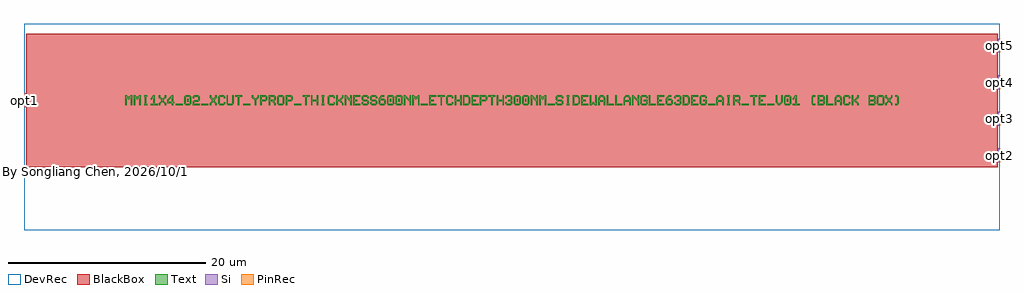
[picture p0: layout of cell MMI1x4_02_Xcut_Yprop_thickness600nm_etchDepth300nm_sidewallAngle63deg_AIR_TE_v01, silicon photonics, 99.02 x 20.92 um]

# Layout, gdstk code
import gdstk
lib = gdstk.Library(unit=1e-6, precision=1e-10)
def R(c, l, rs):  # rectangles x0, y0, x1, y1
    for r in rs: c.add(gdstk.rectangle(r[:2], r[2:], *l))
def A(c, l, x, y, w, h, nx, ny, dx, dy):  # array of equal rectangles
    R(c, l, [(x+i*dx, y+j*dy, x+i*dx+w, y+j*dy+h) for i in range(nx) for j in range(ny)])
def P(c, l, *ps):  # polygons
    for p in ps: c.add(gdstk.Polygon(p, *l))
Si = (1, 0)
PinRec = (1, 10)
Text = (10, 0)
DevRec = (68, 0)
BlackBox = (998, 0)

text = lib.new_cell('TEXT')
A(text, Text, 17.14, 0, 0.714, 0.143, 3, 1, 12.855, 0)
R(text, Text, [(5.142,0,5.856,0.143), (7.713,0,8.427,0.143), (11.998,0,12.712,0.143), (59.133,0,59.847,0.143), (62.561,0,63.275,0.143), (65.132,0,65.846,0.143), (6.285,0.357,6.428,0.643), (26.853,0.357,26.996,0.643), (27.71,0.357,27.853,0.643), (39.708,0.357,39.851,0.643), (40.565,0.357,40.708,0.643), (67.132,0.357,67.275,0.643)])
P(text, Text, [(0,0),(0,1),(0.143,1),(0.286,0.857),(0.429,0.857),(0.572,1),(0.714,1),(0.714,0),(0.572,0),(0.572,0.714),(0.5,0.714),(0.357,0.572),(0.214,0.714),(0.143,0.714),(0.143,0)],
  [(0.857,0),(0.857,1),(1,1),(1.143,0.857),(1.286,0.857),(1.429,1),(1.571,1),(1.571,0),(1.429,0),(1.429,0.714),(1.357,0.714),(1.214,0.572),(1.071,0.714),(1,0.714),(1,0)],
  [(1.928,0),(1.928,0.143),(2,0.143),(2,0.857),(1.928,0.857),(1.928,1),(2.214,1),(2.214,0.857),(2.143,0.857),(2.143,0.143),(2.214,0.143),(2.214,0)],
  [(2.571,0),(2.571,0.143),(2.857,0.143),(2.857,0.714),(2.785,0.714),(2.642,0.572),(2.571,0.572),(2.571,0.714),(2.857,1),(3,1),(3,0.143),(3.285,0.143),(3.285,0)],
  [(3.428,0),(3.428,0.214),(3.642,0.429),(3.642,0.572),(3.428,0.786),(3.428,1),(3.571,1),(3.571,0.857),(3.785,0.643),(4,0.857),(4,1),(4.142,1),(4.142,0.786),(3.928,0.572),(3.928,0.429),(4.142,0.214),(4.142,0),(4,0),(4,0.143),(3.785,0.357),(3.571,0.143),(3.571,0)],
  [(4.714,0),(4.714,0.214),(4.285,0.214),(4.285,0.357),(4.714,0.357),(4.714,0.714),(4.642,0.714),(4.428,0.5),(4.428,0.357),(4.285,0.357),(4.285,0.572),(4.714,1),(4.857,1),(4.857,0.357),(4.999,0.357),(4.999,0.214),(4.857,0.214),(4.857,0)],
  [(6.142,0),(5.999,0.143),(5.999,0.857),(6.142,1),(6.571,1),(6.713,0.857),(6.213,0.857),(6.142,0.786),(6.142,0.214),(6.213,0.143),(6.499,0.143),(6.571,0.214),(6.571,0.786),(6.499,0.857),(6.713,0.857),(6.713,0.143),(6.571,0)],
  [(6.856,0),(6.856,0.357),(6.999,0.5),(7.356,0.5),(7.428,0.572),(7.428,0.786),(7.356,0.857),(7.07,0.857),(6.999,0.786),(6.999,0.714),(6.856,0.714),(6.856,0.857),(6.999,1),(7.428,1),(7.57,0.857),(7.57,0.5),(7.428,0.357),(7.07,0.357),(6.999,0.286),(6.999,0.143),(7.57,0.143),(7.57,0)],
  [(8.57,0),(8.57,0.214),(8.784,0.429),(8.784,0.572),(8.57,0.786),(8.57,1),(8.713,1),(8.713,0.857),(8.927,0.643),(9.142,0.857),(9.142,1),(9.284,1),(9.284,0.786),(9.07,0.572),(9.07,0.429),(9.284,0.214),(9.284,0),(9.142,0),(9.142,0.143),(8.927,0.357),(8.713,0.143),(8.713,0)],
  [(9.57,0),(9.427,0.143),(9.427,0.857),(9.57,1),(9.999,1),(10.141,0.857),(10.141,0.714),(9.999,0.714),(9.999,0.786),(9.927,0.857),(9.641,0.857),(9.57,0.786),(9.57,0.214),(9.641,0.143),(9.927,0.143),(9.999,0.214),(9.999,0.286),(10.141,0.286),(10.141,0.143),(9.999,0)],
  [(10.427,0),(10.284,0.143),(10.284,1),(10.427,1),(10.427,0.214),(10.498,0.143),(10.784,0.143),(10.856,0.214),(10.856,1),(10.998,1),(10.998,0.143),(10.856,0)],
  [(11.427,0),(11.427,0.857),(11.141,0.857),(11.141,1),(11.855,1),(11.855,0.857),(11.57,0.857),(11.57,0)],
  [(13.141,0),(13.141,0.5),(12.855,0.786),(12.855,1),(12.998,1),(12.998,0.857),(13.212,0.643),(13.427,0.857),(13.427,1),(13.569,1),(13.569,0.786),(13.284,0.5),(13.284,0)],
  [(13.712,0),(13.712,1),(14.284,1),(14.426,0.857),(14.426,0.572),(14.284,0.429),(13.855,0.429),(13.855,0.572),(14.212,0.572),(14.284,0.643),(14.284,0.786),(14.212,0.857),(13.855,0.857),(13.855,0)],
  [(14.569,0),(14.569,1),(15.141,1),(15.283,0.857),(14.712,0.857),(14.712,0.572),(15.069,0.572),(15.141,0.643),(15.141,0.786),(15.069,0.857),(15.283,0.857),(15.283,0.572),(15.141,0.429),(15.141,0.357),(15.283,0.214),(15.283,0),(15.141,0),(15.141,0.143),(14.855,0.429),(14.712,0.429),(14.712,0)],
  [(15.569,0),(15.426,0.143),(15.426,0.857),(15.569,1),(15.998,1),(16.14,0.857),(16.14,0.5),(15.998,0.5),(15.998,0.786),(15.926,0.857),(15.64,0.857),(15.569,0.786),(15.569,0.214),(15.64,0.143),(15.926,0.143),(15.998,0.214),(15.998,0.5),(16.14,0.5),(16.14,0.143),(15.998,0)],
  [(16.283,0),(16.283,1),(16.855,1),(16.997,0.857),(16.997,0.572),(16.855,0.429),(16.426,0.429),(16.426,0.572),(16.783,0.572),(16.855,0.643),(16.855,0.786),(16.783,0.857),(16.426,0.857),(16.426,0)],
  [(18.283,0),(18.283,0.857),(17.997,0.857),(17.997,1),(18.711,1),(18.711,0.857),(18.426,0.857),(18.426,0)],
  [(18.854,0),(18.854,1),(18.997,1),(18.997,0.572),(19.426,0.572),(19.426,1),(19.568,1),(19.568,0),(19.426,0),(19.426,0.429),(18.997,0.429),(18.997,0)],
  [(19.925,0),(19.925,0.143),(19.997,0.143),(19.997,0.857),(19.925,0.857),(19.925,1),(20.211,1),(20.211,0.857),(20.14,0.857),(20.14,0.143),(20.211,0.143),(20.211,0)],
  [(20.711,0),(20.568,0.143),(20.568,0.857),(20.711,1),(21.14,1),(21.282,0.857),(21.282,0.714),(21.14,0.714),(21.14,0.786),(21.068,0.857),(20.782,0.857),(20.711,0.786),(20.711,0.214),(20.782,0.143),(21.068,0.143),(21.14,0.214),(21.14,0.286),(21.282,0.286),(21.282,0.143),(21.14,0)],
  [(21.425,0),(21.425,1),(21.568,1),(21.568,0.572),(21.711,0.572),(21.997,0.857),(21.997,1),(22.139,1),(22.139,0.786),(21.854,0.5),(22.139,0.214),(22.139,0),(21.997,0),(21.997,0.143),(21.711,0.429),(21.568,0.429),(21.568,0)],
  [(22.282,0),(22.282,1),(22.425,1),(22.782,0.643),(22.854,0.643),(22.854,1),(22.996,1),(22.996,0),(22.854,0),(22.854,0.357),(22.496,0.714),(22.425,0.714),(22.425,0)],
  [(23.139,0),(23.139,1),(23.853,1),(23.853,0.857),(23.282,0.857),(23.282,0.572),(23.568,0.572),(23.568,0.429),(23.282,0.429),(23.282,0.143),(23.853,0.143),(23.853,0)],
  [(24.139,0),(23.996,0.143),(23.996,0.286),(24.139,0.286),(24.139,0.214),(24.21,0.143),(24.496,0.143),(24.568,0.214),(24.568,0.357),(24.496,0.429),(24.139,0.429),(23.996,0.572),(23.996,0.857),(24.139,1),(24.568,1),(24.71,0.857),(24.71,0.714),(24.568,0.714),(24.568,0.786),(24.496,0.857),(24.21,0.857),(24.139,0.786),(24.139,0.643),(24.21,0.572),(24.568,0.572),(24.71,0.429),(24.71,0.143),(24.568,0)],
  [(24.996,0),(24.853,0.143),(24.853,0.286),(24.996,0.286),(24.996,0.214),(25.067,0.143),(25.353,0.143),(25.425,0.214),(25.425,0.357),(25.353,0.429),(24.996,0.429),(24.853,0.572),(24.853,0.857),(24.996,1),(25.425,1),(25.567,0.857),(25.567,0.714),(25.425,0.714),(25.425,0.786),(25.353,0.857),(25.067,0.857),(24.996,0.786),(24.996,0.643),(25.067,0.572),(25.425,0.572),(25.567,0.429),(25.567,0.143),(25.425,0)],
  [(25.853,0),(25.71,0.143),(25.71,0.714),(25.996,1),(26.282,1),(26.282,0.857),(26.067,0.857),(25.924,0.714),(25.924,0.643),(26.282,0.643),(26.424,0.5),(25.924,0.5),(25.853,0.429),(25.853,0.214),(25.924,0.143),(26.21,0.143),(26.282,0.214),(26.282,0.429),(26.21,0.5),(26.424,0.5),(26.424,0.143),(26.282,0)],
  [(26.71,0),(26.567,0.143),(26.567,0.857),(26.71,1),(27.139,1),(27.281,0.857),(26.781,0.857),(26.71,0.786),(26.71,0.214),(26.781,0.143),(27.067,0.143),(27.139,0.214),(27.139,0.786),(27.067,0.857),(27.281,0.857),(27.281,0.143),(27.139,0)],
  [(27.567,0),(27.424,0.143),(27.424,0.857),(27.567,1),(27.996,1),(28.138,0.857),(27.638,0.857),(27.567,0.786),(27.567,0.214),(27.638,0.143),(27.924,0.143),(27.996,0.214),(27.996,0.786),(27.924,0.857),(28.138,0.857),(28.138,0.143),(27.996,0)],
  [(28.281,0),(28.281,1),(28.424,1),(28.781,0.643),(28.853,0.643),(28.853,1),(28.995,1),(28.995,0),(28.853,0),(28.853,0.357),(28.495,0.714),(28.424,0.714),(28.424,0)],
  [(29.138,0),(29.138,1),(29.281,1),(29.424,0.857),(29.567,0.857),(29.71,1),(29.852,1),(29.852,0),(29.71,0),(29.71,0.714),(29.638,0.714),(29.495,0.572),(29.352,0.714),(29.281,0.714),(29.281,0)],
  [(30.852,0),(30.852,1),(31.566,1),(31.566,0.857),(30.995,0.857),(30.995,0.572),(31.281,0.572),(31.281,0.429),(30.995,0.429),(30.995,0.143),(31.566,0.143),(31.566,0)],
  [(31.995,0),(31.995,0.857),(31.709,0.857),(31.709,1),(32.423,1),(32.423,0.857),(32.138,0.857),(32.138,0)],
  [(32.709,0),(32.566,0.143),(32.566,0.857),(32.709,1),(33.138,1),(33.28,0.857),(33.28,0.714),(33.138,0.714),(33.138,0.786),(33.066,0.857),(32.78,0.857),(32.709,0.786),(32.709,0.214),(32.78,0.143),(33.066,0.143),(33.138,0.214),(33.138,0.286),(33.28,0.286),(33.28,0.143),(33.138,0)],
  [(33.423,0),(33.423,1),(33.566,1),(33.566,0.572),(33.995,0.572),(33.995,1),(34.137,1),(34.137,0),(33.995,0),(33.995,0.429),(33.566,0.429),(33.566,0)],
  [(34.28,0),(34.28,1),(34.78,1),(34.923,0.857),(34.423,0.857),(34.423,0.143),(34.709,0.143),(34.852,0.286),(34.852,0.714),(34.709,0.857),(34.923,0.857),(34.994,0.786),(34.994,0.214),(34.78,0)],
  [(35.137,0),(35.137,1),(35.851,1),(35.851,0.857),(35.28,0.857),(35.28,0.572),(35.566,0.572),(35.566,0.429),(35.28,0.429),(35.28,0.143),(35.851,0.143),(35.851,0)],
  [(35.994,0),(35.994,1),(36.566,1),(36.708,0.857),(36.708,0.572),(36.566,0.429),(36.137,0.429),(36.137,0.572),(36.494,0.572),(36.566,0.643),(36.566,0.786),(36.494,0.857),(36.137,0.857),(36.137,0)],
  [(37.137,0),(37.137,0.857),(36.851,0.857),(36.851,1),(37.565,1),(37.565,0.857),(37.28,0.857),(37.28,0)],
  [(37.708,0),(37.708,1),(37.851,1),(37.851,0.572),(38.28,0.572),(38.28,1),(38.422,1),(38.422,0),(38.28,0),(38.28,0.429),(37.851,0.429),(37.851,0)],
  [(38.708,0),(38.565,0.143),(38.565,0.286),(38.708,0.286),(38.708,0.214),(38.779,0.143),(39.065,0.143),(39.137,0.214),(39.137,0.357),(39.065,0.429),(38.851,0.429),(38.851,0.572),(39.065,0.572),(39.137,0.643),(39.137,0.786),(39.065,0.857),(38.779,0.857),(38.708,0.786),(38.708,0.714),(38.565,0.714),(38.565,0.857),(38.708,1),(39.137,1),(39.279,0.857),(39.279,0.572),(39.208,0.5),(39.279,0.429),(39.279,0.143),(39.137,0)],
  [(39.565,0),(39.422,0.143),(39.422,0.857),(39.565,1),(39.994,1),(40.136,0.857),(39.636,0.857),(39.565,0.786),(39.565,0.214),(39.636,0.143),(39.922,0.143),(39.994,0.214),(39.994,0.786),(39.922,0.857),(40.136,0.857),(40.136,0.143),(39.994,0)],
  [(40.422,0),(40.279,0.143),(40.279,0.857),(40.422,1),(40.851,1),(40.993,0.857),(40.493,0.857),(40.422,0.786),(40.422,0.214),(40.493,0.143),(40.779,0.143),(40.851,0.214),(40.851,0.786),(40.779,0.857),(40.993,0.857),(40.993,0.143),(40.851,0)],
  [(41.136,0),(41.136,1),(41.279,1),(41.636,0.643),(41.708,0.643),(41.708,1),(41.85,1),(41.85,0),(41.708,0),(41.708,0.357),(41.35,0.714),(41.279,0.714),(41.279,0)],
  [(41.993,0),(41.993,1),(42.136,1),(42.279,0.857),(42.422,0.857),(42.565,1),(42.707,1),(42.707,0),(42.565,0),(42.565,0.714),(42.493,0.714),(42.35,0.572),(42.207,0.714),(42.136,0.714),(42.136,0)],
  [(43.85,0),(43.707,0.143),(43.707,0.286),(43.85,0.286),(43.85,0.214),(43.921,0.143),(44.207,0.143),(44.279,0.214),(44.279,0.357),(44.207,0.429),(43.85,0.429),(43.707,0.572),(43.707,0.857),(43.85,1),(44.279,1),(44.421,0.857),(44.421,0.714),(44.279,0.714),(44.279,0.786),(44.207,0.857),(43.921,0.857),(43.85,0.786),(43.85,0.643),(43.921,0.572),(44.279,0.572),(44.421,0.429),(44.421,0.143),(44.279,0)],
  [(44.778,0),(44.778,0.143),(44.85,0.143),(44.85,0.857),(44.778,0.857),(44.778,1),(45.064,1),(45.064,0.857),(44.993,0.857),(44.993,0.143),(45.064,0.143),(45.064,0)],
  [(45.421,0),(45.421,1),(45.921,1),(46.064,0.857),(45.564,0.857),(45.564,0.143),(45.85,0.143),(45.993,0.286),(45.993,0.714),(45.85,0.857),(46.064,0.857),(46.135,0.786),(46.135,0.214),(45.921,0)],
  [(46.278,0),(46.278,1),(46.992,1),(46.992,0.857),(46.421,0.857),(46.421,0.572),(46.707,0.572),(46.707,0.429),(46.421,0.429),(46.421,0.143),(46.992,0.143),(46.992,0)],
  [(47.135,0),(47.135,1),(47.278,1),(47.278,0.214),(47.349,0.214),(47.492,0.357),(47.635,0.214),(47.707,0.214),(47.707,1),(47.849,1),(47.849,0),(47.635,0),(47.492,0.143),(47.349,0)],
  [(47.992,0),(47.992,0.786),(48.206,1),(48.492,1),(48.635,0.857),(48.278,0.857),(48.135,0.714),(48.135,0.5),(48.564,0.5),(48.564,0.714),(48.421,0.857),(48.635,0.857),(48.706,0.786),(48.706,0),(48.564,0),(48.564,0.357),(48.135,0.357),(48.135,0)],
  [(48.849,0),(48.849,1),(48.992,1),(48.992,0.143),(49.563,0.143),(49.563,0)],
  [(49.706,0),(49.706,1),(49.849,1),(49.849,0.143),(50.42,0.143),(50.42,0)],
  [(50.563,0),(50.563,0.786),(50.777,1),(51.063,1),(51.206,0.857),(50.849,0.857),(50.706,0.714),(50.706,0.5),(51.135,0.5),(51.135,0.714),(50.992,0.857),(51.206,0.857),(51.277,0.786),(51.277,0),(51.135,0),(51.135,0.357),(50.706,0.357),(50.706,0)],
  [(51.42,0),(51.42,1),(51.563,1),(51.92,0.643),(51.992,0.643),(51.992,1),(52.134,1),(52.134,0),(51.992,0),(51.992,0.357),(51.634,0.714),(51.563,0.714),(51.563,0)],
  [(52.42,0),(52.277,0.143),(52.277,0.857),(52.42,1),(52.849,1),(52.991,0.857),(52.991,0.714),(52.849,0.714),(52.849,0.786),(52.777,0.857),(52.491,0.857),(52.42,0.786),(52.42,0.214),(52.491,0.143),(52.777,0.143),(52.849,0.214),(52.849,0.429),(52.634,0.429),(52.634,0.572),(52.991,0.572),(52.991,0.143),(52.849,0)],
  [(53.134,0),(53.134,1),(53.277,1),(53.277,0.143),(53.848,0.143),(53.848,0)],
  [(53.991,0),(53.991,1),(54.705,1),(54.705,0.857),(54.134,0.857),(54.134,0.572),(54.42,0.572),(54.42,0.429),(54.134,0.429),(54.134,0.143),(54.705,0.143),(54.705,0)],
  [(54.991,0),(54.848,0.143),(54.848,0.714),(55.134,1),(55.42,1),(55.42,0.857),(55.205,0.857),(55.062,0.714),(55.062,0.643),(55.42,0.643),(55.562,0.5),(55.062,0.5),(54.991,0.429),(54.991,0.214),(55.062,0.143),(55.348,0.143),(55.42,0.214),(55.42,0.429),(55.348,0.5),(55.562,0.5),(55.562,0.143),(55.42,0)],
  [(55.848,0),(55.705,0.143),(55.705,0.286),(55.848,0.286),(55.848,0.214),(55.919,0.143),(56.205,0.143),(56.277,0.214),(56.277,0.357),(56.205,0.429),(55.991,0.429),(55.991,0.572),(56.205,0.572),(56.277,0.643),(56.277,0.786),(56.205,0.857),(55.919,0.857),(55.848,0.786),(55.848,0.714),(55.705,0.714),(55.705,0.857),(55.848,1),(56.277,1),(56.419,0.857),(56.419,0.572),(56.348,0.5),(56.419,0.429),(56.419,0.143),(56.277,0)],
  [(56.562,0),(56.562,1),(57.062,1),(57.205,0.857),(56.705,0.857),(56.705,0.143),(56.991,0.143),(57.134,0.286),(57.134,0.714),(56.991,0.857),(57.205,0.857),(57.276,0.786),(57.276,0.214),(57.062,0)],
  [(57.419,0),(57.419,1),(58.133,1),(58.133,0.857),(57.562,0.857),(57.562,0.572),(57.848,0.572),(57.848,0.429),(57.562,0.429),(57.562,0.143),(58.133,0.143),(58.133,0)],
  [(58.419,0),(58.276,0.143),(58.276,0.857),(58.419,1),(58.848,1),(58.99,0.857),(58.99,0.714),(58.848,0.714),(58.848,0.786),(58.776,0.857),(58.49,0.857),(58.419,0.786),(58.419,0.214),(58.49,0.143),(58.776,0.143),(58.848,0.214),(58.848,0.429),(58.633,0.429),(58.633,0.572),(58.99,0.572),(58.99,0.143),(58.848,0)],
  [(59.99,0),(59.99,0.786),(60.204,1),(60.49,1),(60.633,0.857),(60.276,0.857),(60.133,0.714),(60.133,0.5),(60.562,0.5),(60.562,0.714),(60.419,0.857),(60.633,0.857),(60.704,0.786),(60.704,0),(60.562,0),(60.562,0.357),(60.133,0.357),(60.133,0)],
  [(61.061,0),(61.061,0.143),(61.133,0.143),(61.133,0.857),(61.061,0.857),(61.061,1),(61.347,1),(61.347,0.857),(61.276,0.857),(61.276,0.143),(61.347,0.143),(61.347,0)],
  [(61.704,0),(61.704,1),(62.276,1),(62.418,0.857),(61.847,0.857),(61.847,0.572),(62.204,0.572),(62.276,0.643),(62.276,0.786),(62.204,0.857),(62.418,0.857),(62.418,0.572),(62.276,0.429),(62.276,0.357),(62.418,0.214),(62.418,0),(62.276,0),(62.276,0.143),(61.99,0.429),(61.847,0.429),(61.847,0)],
  [(63.704,0),(63.704,0.857),(63.418,0.857),(63.418,1),(64.132,1),(64.132,0.857),(63.847,0.857),(63.847,0)],
  [(64.275,0),(64.275,1),(64.989,1),(64.989,0.857),(64.418,0.857),(64.418,0.572),(64.704,0.572),(64.704,0.429),(64.418,0.429),(64.418,0.143),(64.989,0.143),(64.989,0)],
  [(66.275,0),(65.989,0.286),(65.989,1),(66.132,1),(66.132,0.357),(66.346,0.143),(66.561,0.357),(66.561,1),(66.703,1),(66.703,0.286),(66.418,0)],
  [(66.989,0),(66.846,0.143),(66.846,0.857),(66.989,1),(67.418,1),(67.56,0.857),(67.06,0.857),(66.989,0.786),(66.989,0.214),(67.06,0.143),(67.346,0.143),(67.418,0.214),(67.418,0.786),(67.346,0.857),(67.56,0.857),(67.56,0.143),(67.418,0)],
  [(67.703,0),(67.703,0.143),(67.989,0.143),(67.989,0.714),(67.917,0.714),(67.774,0.572),(67.703,0.572),(67.703,0.714),(67.989,1),(68.132,1),(68.132,0.143),(68.417,0.143),(68.417,0)],
  [(69.774,0),(69.631,0.143),(69.631,0.857),(69.774,1),(69.989,1),(69.989,0.857),(69.846,0.857),(69.774,0.786),(69.774,0.214),(69.846,0.143),(69.989,0.143),(69.989,0)],
  [(70.274,0),(70.274,1),(70.846,1),(70.988,0.857),(70.417,0.857),(70.417,0.572),(70.774,0.572),(70.846,0.643),(70.846,0.786),(70.774,0.857),(70.988,0.857),(70.988,0.572),(70.917,0.5),(70.988,0.429),(70.417,0.429),(70.417,0.143),(70.774,0.143),(70.846,0.214),(70.846,0.357),(70.774,0.429),(70.988,0.429),(70.988,0.143),(70.846,0)],
  [(71.131,0),(71.131,1),(71.274,1),(71.274,0.143),(71.845,0.143),(71.845,0)],
  [(71.988,0),(71.988,0.786),(72.202,1),(72.488,1),(72.631,0.857),(72.274,0.857),(72.131,0.714),(72.131,0.5),(72.56,0.5),(72.56,0.714),(72.417,0.857),(72.631,0.857),(72.702,0.786),(72.702,0),(72.56,0),(72.56,0.357),(72.131,0.357),(72.131,0)],
  [(72.988,0),(72.845,0.143),(72.845,0.857),(72.988,1),(73.417,1),(73.559,0.857),(73.559,0.714),(73.417,0.714),(73.417,0.786),(73.345,0.857),(73.059,0.857),(72.988,0.786),(72.988,0.214),(73.059,0.143),(73.345,0.143),(73.417,0.214),(73.417,0.286),(73.559,0.286),(73.559,0.143),(73.417,0)],
  [(73.702,0),(73.702,1),(73.845,1),(73.845,0.572),(73.988,0.572),(74.274,0.857),(74.274,1),(74.416,1),(74.416,0.786),(74.131,0.5),(74.416,0.214),(74.416,0),(74.274,0),(74.274,0.143),(73.988,0.429),(73.845,0.429),(73.845,0)],
  [(75.416,0),(75.416,1),(75.988,1),(76.13,0.857),(75.559,0.857),(75.559,0.572),(75.916,0.572),(75.988,0.643),(75.988,0.786),(75.916,0.857),(76.13,0.857),(76.13,0.572),(76.059,0.5),(76.13,0.429),(75.559,0.429),(75.559,0.143),(75.916,0.143),(75.988,0.214),(75.988,0.357),(75.916,0.429),(76.13,0.429),(76.13,0.143),(75.988,0)],
  [(76.416,0),(76.273,0.143),(76.273,0.857),(76.416,1),(76.845,1),(76.987,0.857),(76.987,0.5),(76.845,0.5),(76.845,0.786),(76.773,0.857),(76.487,0.857),(76.416,0.786),(76.416,0.214),(76.487,0.143),(76.773,0.143),(76.845,0.214),(76.845,0.5),(76.987,0.5),(76.987,0.143),(76.845,0)],
  [(77.13,0),(77.13,0.214),(77.344,0.429),(77.344,0.572),(77.13,0.786),(77.13,1),(77.273,1),(77.273,0.857),(77.487,0.643),(77.702,0.857),(77.702,1),(77.844,1),(77.844,0.786),(77.63,0.572),(77.63,0.429),(77.844,0.214),(77.844,0),(77.702,0),(77.702,0.143),(77.487,0.357),(77.273,0.143),(77.273,0)],
  [(78.13,0),(78.13,0.143),(78.273,0.143),(78.344,0.214),(78.344,0.786),(78.273,0.857),(78.13,0.857),(78.13,1),(78.344,1),(78.487,0.857),(78.487,0.143),(78.344,0)])

mmi1x4_02_xcut_yprop_thi = lib.new_cell('MMI1x4_02_Xcut_Yprop_thickness600nm_etchDepth300nm_sidewallAngle63deg_AIR_TE_v01')
R(mmi1x4_02_xcut_yprop_thi, Si, [(49.3,-6.2586,49.5,-4.8586), (49.3,-2.5529,49.5,-1.1529), (-49.5,-0.7,-49.3,0.7), (49.3,1.1529,49.5,2.5529), (49.3,4.8586,49.5,6.2586)])
R(mmi1x4_02_xcut_yprop_thi, DevRec, [(-49.5,-13.1586,49.5,7.7586)])
R(mmi1x4_02_xcut_yprop_thi, BlackBox, [(-49.3,-6.7586,49.3,6.7586)])
mmi1x4_02_xcut_yprop_thi.add(gdstk.FlexPath([(-49.49,0),(-49.51,0)], 1.4, ends="flush", simple_path=True, layer=1, datatype=10))  # PinRec
mmi1x4_02_xcut_yprop_thi.add(gdstk.FlexPath([(49.49,-5.5586),(49.51,-5.5586)], 1.4, ends="flush", simple_path=True, layer=1, datatype=10))  # PinRec
mmi1x4_02_xcut_yprop_thi.add(gdstk.FlexPath([(49.49,-1.8529),(49.51,-1.8529)], 1.4, ends="flush", simple_path=True, layer=1, datatype=10))  # PinRec
mmi1x4_02_xcut_yprop_thi.add(gdstk.FlexPath([(49.49,1.8529),(49.51,1.8529)], 1.4, ends="flush", simple_path=True, layer=1, datatype=10))  # PinRec
mmi1x4_02_xcut_yprop_thi.add(gdstk.FlexPath([(49.49,5.5586),(49.51,5.5586)], 1.4, ends="flush", simple_path=True, layer=1, datatype=10))  # PinRec
mmi1x4_02_xcut_yprop_thi.add(gdstk.Reference(text, (-39.2435,-0.5)))
mmi1x4_02_xcut_yprop_thi.add(gdstk.Label('opt1', (-49.5,0), layer=1, texttype=10))
mmi1x4_02_xcut_yprop_thi.add(gdstk.Label('opt2', (49.5,-5.5586), layer=1, texttype=10))
mmi1x4_02_xcut_yprop_thi.add(gdstk.Label('opt3', (49.5,-1.8529), layer=1, texttype=10))
mmi1x4_02_xcut_yprop_thi.add(gdstk.Label('opt4', (49.5,1.8529), layer=1, texttype=10))
mmi1x4_02_xcut_yprop_thi.add(gdstk.Label('opt5', (49.5,5.5586), layer=1, texttype=10))
mmi1x4_02_xcut_yprop_thi.add(gdstk.Label('By Songliang Chen, 2026/10/13', (-49,-7.2586), layer=10, texttype=0))

lib.write_gds('MMI1x4_02_Xcut_Yprop_thickness600nm_etchDepth300nm_sidewallAngle63deg_AIR_TE_v01.gds')
